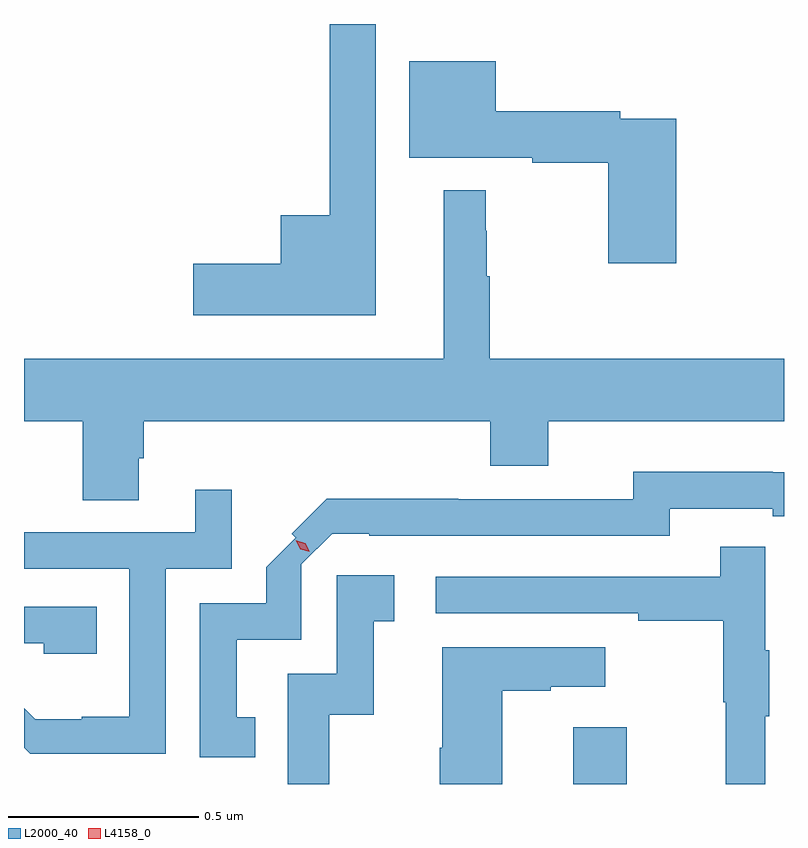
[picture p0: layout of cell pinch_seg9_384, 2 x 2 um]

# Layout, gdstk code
import gdstk
lib = gdstk.Library(unit=1e-6, precision=1e-09)
def R(c, l, rs):  # rectangles x0, y0, x1, y1
    for r in rs: c.add(gdstk.rectangle(r[:2], r[2:], *l))
def P(c, l, *ps):  # polygons
    for p in ps: c.add(gdstk.Polygon(p, *l))
L2000_40 = (2000, 40)
L4158_0 = (4158, 0)

pinch_seg9_384 = lib.new_cell('pinch_seg9_384')
R(pinch_seg9_384, L2000_40, [(391.241,1214.113,391.381,1214.263)])
P(pinch_seg9_384, L2000_40, [(390.721,1216.113),(390.6,1216.113),(390.6,1215.61),(390.47,1215.61),(390.47,1215.482),(390.24,1215.482),(390.24,1215.347),(390.721,1215.347)],
  [(391.511,1215.864),(391.364,1215.864),(391.364,1215.884),(391.036,1215.884),(391.036,1216.015),(390.809,1216.015),(390.809,1215.761),(391.132,1215.761),(391.132,1215.748),(391.333,1215.748),(391.333,1215.483),(391.511,1215.483)],
  [(390.097,1214.97),(390.11,1214.97),(390.11,1215.068),(391.022,1215.068),(391.022,1214.951),(391.174,1214.951),(391.174,1215.068),(391.795,1215.068),(391.795,1215.232),(391.021,1215.232),(391.021,1215.449),(391.013,1215.449),(391.013,1215.569),(391.01,1215.569),(391.01,1215.676),(390.899,1215.676),(390.899,1215.232),(389.795,1215.232),(389.795,1215.068),(389.95,1215.068),(389.95,1214.86),(390.097,1214.86)],
  [(390.404,1214.289),(390.355,1214.289),(390.355,1214.493),(390.525,1214.493),(390.525,1214.691),(390.606,1214.772),(390.703,1214.772),(390.703,1214.766),(391.494,1214.766),(391.494,1214.838),(391.766,1214.838),(391.766,1214.818),(391.795,1214.818),(391.795,1214.934),(391.766,1214.934),(391.766,1214.935),(391.398,1214.935),(391.398,1214.862),(390.938,1214.862),(390.938,1214.864),(390.592,1214.864),(390.499,1214.771),(390.51,1214.761),(390.432,1214.683),(390.432,1214.589),(390.258,1214.589),(390.258,1214.184),(390.404,1214.184)],
  [(390.168,1214.679),(390.342,1214.679),(390.342,1214.887),(390.245,1214.887),(390.245,1214.775),(389.795,1214.775),(389.795,1214.679),(390.072,1214.679),(390.072,1214.29),(389.947,1214.29),(389.947,1214.283),(389.825,1214.283),(389.795,1214.313),(389.795,1214.209),(389.811,1214.193),(390.168,1214.193)],
  [(391.745,1214.291),(391.756,1214.291),(391.756,1214.465),(391.745,1214.465),(391.745,1214.737),(391.627,1214.737),(391.627,1214.658),(390.879,1214.658),(390.879,1214.562),(391.411,1214.562),(391.411,1214.542),(391.635,1214.542),(391.635,1214.328),(391.642,1214.328),(391.642,1214.113),(391.745,1214.113)],
  [(390.598,1214.295),(390.716,1214.295),(390.716,1214.541),(390.769,1214.541),(390.769,1214.662),(390.618,1214.662),(390.618,1214.403),(390.489,1214.403),(390.489,1214.113),(390.598,1214.113)],
  [(389.987,1214.58),(389.795,1214.58),(389.795,1214.484),(389.847,1214.484),(389.847,1214.456),(389.987,1214.456)],
  [(391.054,1214.359),(391.181,1214.359),(391.181,1214.369),(391.324,1214.369),(391.324,1214.473),(390.896,1214.473),(390.896,1214.209),(390.889,1214.209),(390.889,1214.113),(391.054,1214.113)])
P(pinch_seg9_384, L4158_0, [(390.547,1214.724),(390.522,1214.731),(390.51,1214.754),(390.51,1214.754),(390.51,1214.754),(390.535,1214.746),(390.547,1214.724),(390.547,1214.724)])

lib.write_gds('pinch_seg9_384.gds')
